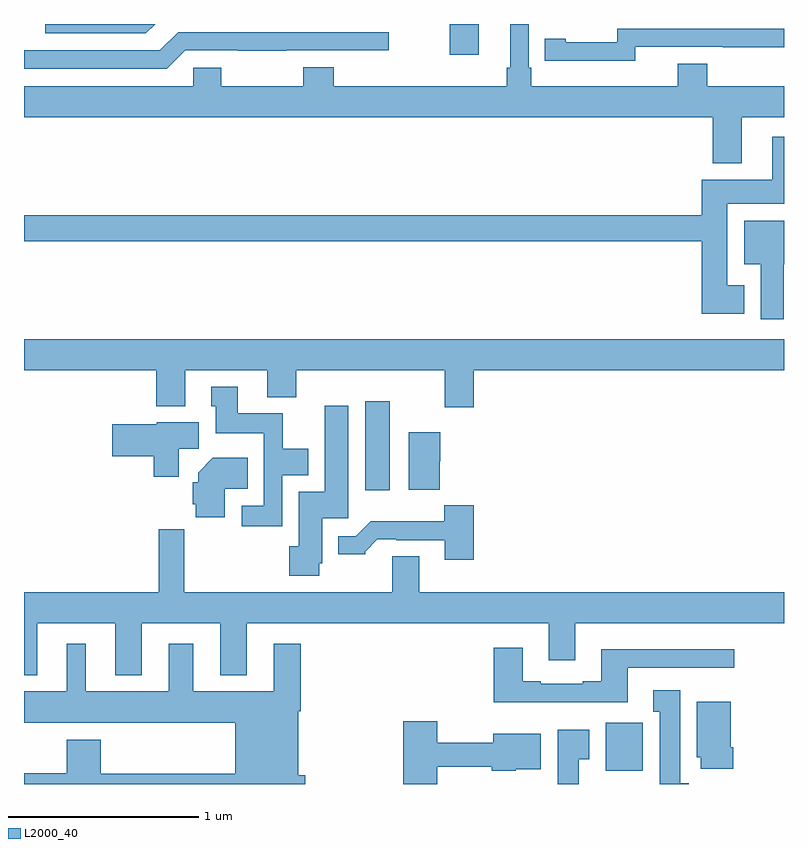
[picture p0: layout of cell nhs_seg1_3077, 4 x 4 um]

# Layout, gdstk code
import gdstk
lib = gdstk.Library(unit=1e-6, precision=1e-09)
def R(c, l, rs):  # rectangles x0, y0, x1, y1
    for r in rs: c.add(gdstk.rectangle(r[:2], r[2:], *l))
def P(c, l, *ps):  # polygons
    for p in ps: c.add(gdstk.Polygon(p, *l))
L2000_40 = (2000, 40)

nhs_seg1_3077 = lib.new_cell('nhs_seg1_3077')
R(nhs_seg1_3077, L2000_40, [(280.061,572.27,280.257,572.521), (278.795,573.744,278.926,574.213), (279.241,576.036,279.394,576.199)])
P(nhs_seg1_3077, L2000_40, [(277.691,576.199),(277.113,576.199),(277.113,576.15),(277.642,576.15)],
  [(280.218,576.078),(280.678,576.078),(280.678,576.077),(281,576.077),(281,576.174),(280.122,576.174),(280.122,576.102),(279.85,576.102),(279.85,576.122),(279.742,576.122),(279.742,576.006),(279.85,576.006),(279.85,576.005),(280.218,576.005)],
  [(277.848,576.06),(278.125,576.06),(278.125,576.059),(278.381,576.059),(278.381,576.06),(278.92,576.06),(278.92,576.156),(277.811,576.156),(277.715,576.06),(277,576.06),(277,575.964),(277.752,575.964)],
  [(280.595,575.989),(280.442,575.989),(280.442,575.872),(279.671,575.872),(279.671,575.968),(279.657,575.968),(279.657,576.199),(279.56,576.199),(279.56,575.968),(279.541,575.968),(279.541,575.872),(278.63,575.872),(278.63,575.971),(278.47,575.971),(278.47,575.872),(278.037,575.872),(278.037,575.97),(277.89,575.97),(277.89,575.872),(277,575.872),(277,575.708),(280.625,575.708),(280.625,575.465),(280.777,575.465),(280.777,575.708),(281,575.708),(281,575.872),(280.595,575.872)],
  [(280.792,574.825),(280.702,574.825),(280.702,575.252),(281,575.252),(281,575.605),(280.937,575.605),(280.937,575.38),(280.568,575.38),(280.568,575.192),(277,575.192),(277,575.056),(280.568,575.056),(280.568,574.673),(280.792,574.673)],
  [(280.999,574.934),(281,574.934),(281,575.164),(280.79,575.164),(280.79,574.934),(280.877,574.934),(280.877,574.644),(280.999,574.644)],
  [(279.368,574.376),(281,574.376),(281,574.54),(277,574.54),(277,574.376),(277.697,574.376),(277.697,574.187),(277.849,574.187),(277.849,574.376),(278.279,574.376),(278.279,574.235),(278.432,574.235),(278.432,574.376),(279.215,574.376),(279.215,574.182),(279.368,574.182)],
  [(278.358,573.824),(278.497,573.824),(278.497,573.964),(278.361,573.964),(278.361,574.15),(278.125,574.15),(278.125,574.291),(277.985,574.291),(277.985,574.188),(278.009,574.188),(278.009,574.046),(278.262,574.046),(278.262,573.663),(278.145,573.663),(278.145,573.555),(278.358,573.555)],
  [(278.553,573.36),(278.569,573.36),(278.569,573.597),(278.707,573.597),(278.707,574.189),(278.582,574.189),(278.582,573.736),(278.447,573.736),(278.447,573.45),(278.396,573.45),(278.396,573.294),(278.553,573.294)],
  [(277.814,573.964),(277.921,573.964),(277.921,574.102),(277.698,574.102),(277.698,574.093),(277.464,574.093),(277.464,573.923),(277.682,573.923),(277.682,573.816),(277.814,573.816)],
  [(279.188,573.897),(279.19,573.897),(279.19,574.051),(279.026,574.051),(279.026,573.749),(279.188,573.749)],
  [(278.056,573.752),(278.177,573.752),(278.177,573.916),(277.994,573.916),(277.916,573.838),(277.916,573.786),(277.889,573.786),(277.889,573.672),(277.904,573.672),(277.904,573.602),(278.056,573.602)],
  [(279.368,573.667),(279.213,573.667),(279.213,573.583),(278.824,573.583),(278.745,573.504),(278.654,573.504),(278.654,573.407),(278.796,573.407),(278.796,573.422),(278.86,573.486),(278.959,573.486),(278.959,573.483),(279.215,573.483),(279.215,573.378),(279.368,573.378)],
  [(277.069,573.044),(277.481,573.044),(277.481,572.771),(277.621,572.771),(277.621,573.044),(278.033,573.044),(278.033,572.771),(278.173,572.771),(278.173,573.044),(279.761,573.044),(279.761,572.85),(279.901,572.85),(279.901,573.044),(281,573.044),(281,573.208),(279.079,573.208),(279.079,573.398),(278.939,573.398),(278.939,573.208),(277.844,573.208),(277.844,573.541),(277.708,573.541),(277.708,573.208),(277,573.208),(277,572.771),(277.069,572.771)],
  [(278.48,572.244),(278.443,572.244),(278.443,572.582),(278.456,572.582),(278.456,572.938),(278.315,572.938),(278.315,572.686),(277.891,572.686),(277.891,572.938),(277.763,572.938),(277.763,572.686),(277.324,572.686),(277.324,572.938),(277.226,572.938),(277.226,572.686),(277,572.686),(277,572.522),(278.111,572.522),(278.111,572.252),(277.403,572.252),(277.403,572.431),(277.225,572.431),(277.225,572.255),(277,572.255),(277,572.199),(278.48,572.199)],
  [(280.177,572.811),(280.738,572.811),(280.738,572.908),(280.037,572.908),(280.037,572.74),(279.941,572.74),(279.941,572.727),(279.721,572.727),(279.721,572.74),(279.625,572.74),(279.625,572.917),(279.473,572.917),(279.473,572.63),(280.177,572.63)],
  [(280.498,572.202),(280.453,572.202),(280.453,572.692),(280.313,572.692),(280.313,572.579),(280.346,572.579),(280.346,572.199),(280.498,572.199)],
  [(280.733,572.392),(280.72,572.392),(280.72,572.632),(280.541,572.632),(280.541,572.34),(280.562,572.34),(280.562,572.28),(280.733,572.28)],
  [(279.174,572.289),(279.463,572.289),(279.463,572.27),(279.588,572.27),(279.588,572.276),(279.721,572.276),(279.721,572.464),(279.47,572.464),(279.47,572.417),(279.174,572.417),(279.174,572.53),(278.996,572.53),(278.996,572.199),(279.174,572.199)],
  [(279.919,572.329),(279.976,572.329),(279.976,572.485),(279.809,572.485),(279.809,572.199),(279.919,572.199)])

lib.write_gds('nhs_seg1_3077.gds')
